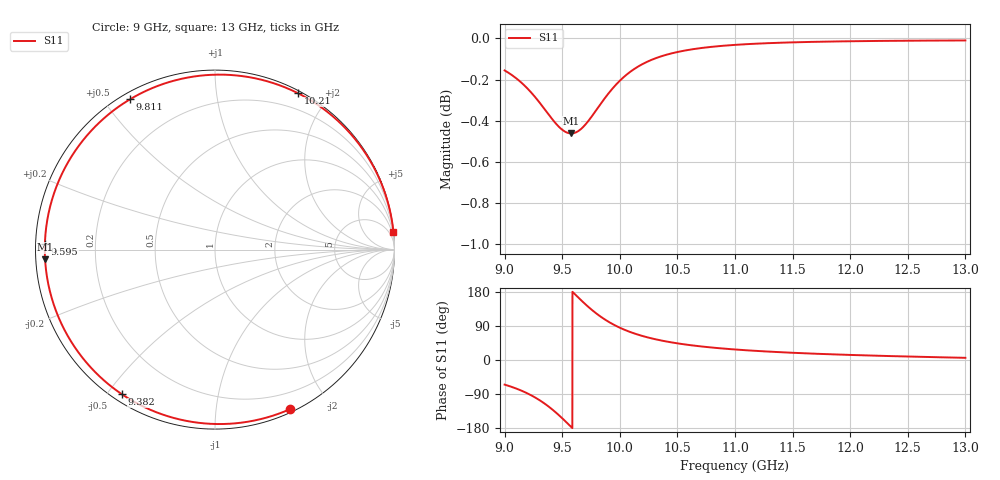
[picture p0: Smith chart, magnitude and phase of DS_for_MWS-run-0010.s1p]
! TOUCHSTONE file generated by CST DESIGN STUDIO
! Date and time: Tue Feb  4 17:55:28 2025
! Project name: C:\Work\MatlabApps\UnitCellOptimizationMatlab\CST\unitcell.cst
! Tree item: Tasks\Sweep1\SPara1\S-Parameters
! Header version: 2024
! Port assignment regex: !\s*Touchstone port\s*([0-9]+)\s*=\s*(CST MWS port|CST DES external port|CST DES block port)\s*(.+)\s* \(\"(.*)\"\)(\s*mode\s*([0-9]+))?.*
! Touchstone port assignment:
! Touchstone port 1 = CST DES external port 1 ("")
# GHz S MA R 50
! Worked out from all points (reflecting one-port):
!   4001 points, 9 GHz to 13 GHz, reference 50 ohm
!   lowest |S11| = -0.5 dB at 9.578 GHz (marker M1), VSWR 37.65, Z = 1.33 - j1.44 ohm
!   phase of S11 starts at -65 deg and turns -289 deg over the sweep
!   S11 on the Smith chart (normalised r, x): 9 GHz: 0.03, -1.57; 9.382 GHz: 0.03, -0.54; 9.595 GHz: 0.03, +0.02; 9.811 GHz: 0.03, +0.58; 10.21 GHz: 0.03, +1.66; 13 GHz: 0, +20
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9  0.9823 -65.0
9.046  0.9805 -69.4
9.115  0.9772 -77.0
9.232  0.9701 -93.4
9.312  0.9641 -107.7
9.382  0.9584 -122.8
9.44  0.9539 -137.2
9.5  0.9502 -153.7
9.54  0.9487 -165.3
9.578  0.9482 -176.7
9.595  0.9483 178.2
9.65  0.95 161.8
9.711  0.9537 144.4
9.761  0.9577 131.3
9.811  0.9621 119.4
9.853  0.9657 110.4
9.897  0.9693 101.8
10  0.9766 85.2
10.101  0.982 72.7
10.212  0.9863 62.0
10.345  0.9898 52.4
10.5  0.9925 43.9
10.72  0.9948 35.3
11  0.9964 27.8
11.5  0.9978 19.0
12  0.9985 13.4
12.5  0.9988 9.2
13  0.9989 5.7
